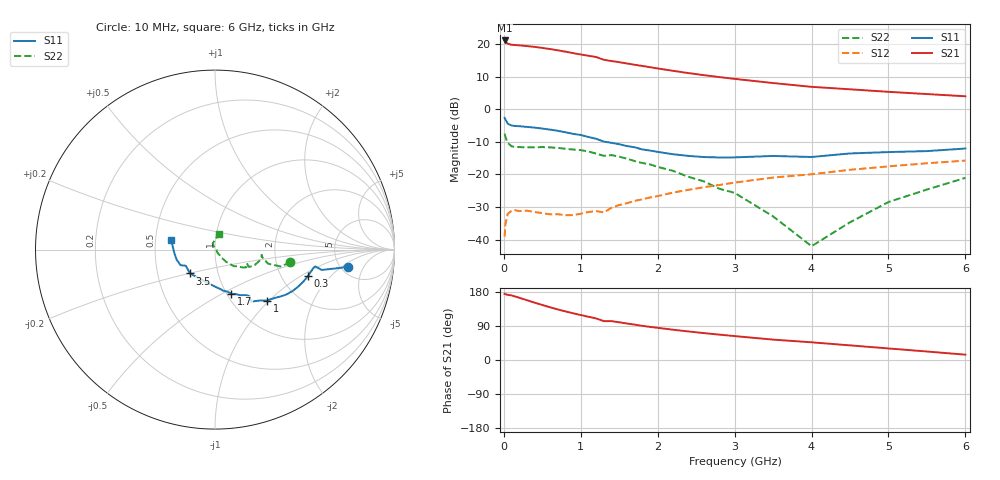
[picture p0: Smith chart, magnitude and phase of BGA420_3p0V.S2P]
! Infineon Technologies  Discrete & RF Semiconductors
! BGA420
! Si NPN RF SIEGET Grounded Emitter Transistor in SOT343
! VCE =  IC =
! Common Emitter S-Parameters:  November  1999
# GHz  S  MA  R  50
!  f  S11  S21  S12  S22
! GHz  MAG  ANG  MAG  ANG  MAG  ANG  MAG  ANG
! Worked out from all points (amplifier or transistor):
!   36 points, 10 MHz to 6 GHz, reference 50 ohm
!   highest |S21| = 21.2 dB at 10 MHz (marker M1)
!   |S21| within 3 dB of that: start of sweep to 691.7 MHz
!   unconditionally stable (mu >= 1): start of sweep to end of sweep
!   at 250 MHz: K = 1.51, MAG = 21.2 dB, |S12| = -31.2 dB
!   at 1.4 GHz: K = 2.66, MAG = 15.5 dB, |S12| = -30.2 dB
!   at 6 GHz: K = 1.93, MAG = 4.3 dB, |S12| = -15.7 dB
!   S11 on the Smith chart (normalised r, x): 10 MHz: 5.76, -2.49; 300 MHz: 2.80, -1.16; 1 GHz: 1.43, -0.97; 1.7 GHz: 1.05, -0.55; 3.5 GHz: 0.73, -0.20; 6 GHz: 0.60, +0.07
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0.01  0.7456 -7.4  11.51 174.6  0.0111 45.4  0.4246 -9.1
0.02  0.7058 -8.3  11.1 173.7  0.0171 40.2  0.3821 -14.4
0.05  0.6048 -10.8  10.26 172.0  0.0249 23.4  0.3062 -14.9
0.1  0.5665 -9.5  9.883 170.3  0.0276 13.3  0.2717 -10.0
0.3  0.539 -15.8  9.429 157.8  0.0278 7.1  0.2615 -7.1
0.4  0.5258 -19.3  9.169 151.3  0.0264 7.7  0.262 -7.4
0.6  0.4904 -28.0  8.492 139.2  0.0244 13.0  0.2613 -11.5
0.8  0.4463 -36.0  7.744 128.2  0.0237 21.2  0.249 -16.7
1  0.4055 -44.4  6.997 118.6  0.0249 32.5  0.2371 -21.4
1.1  0.3776 -48.7  6.691 114.1  0.0265 36.7  0.2254 -24.4
1.2  0.354 -55.0  6.398 109.7  0.0273 38.9  0.2095 -27.3
1.3  0.3204 -53.7  5.81 102.5  0.0261 43.7  0.1936 -23.1
1.4  0.3069 -55.9  5.553 102.7  0.0308 48.8  0.1987 -29.8
1.7  0.2619 -69.7  4.873 93.3  0.0394 52.9  0.1608 -36.3
1.9  0.2334 -78.7  4.46 87.4  0.0443 54.5  0.143 -40.5
2.2  0.2048 -90.8  3.927 79.9  0.0527 55.7  0.1136 -43.8
2.8  0.1827 -115.6  3.148 67.0  0.0689 53.4  0.0604 -50.9
3.5  0.1927 -136.4  2.547 53.8  0.0897 47.6  0.0227 -51.2
4  0.1858 -151.0  2.228 46.7  0.1008 44.0  0.0079 -5.2
4.5  0.2106 -155.7  2.042 38.6  0.1181 39.2  0.0184 112.0
5.5  0.2289 -176.7  1.725 22.4  0.1488 27.0  0.0587 86.5
6  0.2508 167.4  1.595 14.1  0.1635 20.1  0.0888 76.1
